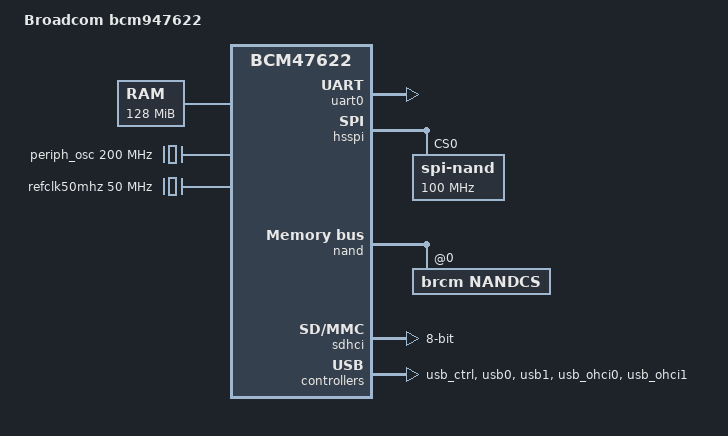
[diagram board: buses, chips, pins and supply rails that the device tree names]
/dts-v1/;

#include "bcm47622-pinctrl.dtsi"

/ {
	model = "Broadcom bcm947622";
	compatible = "broadcom,bcm947622", "brcm,brcm-v7";
	#address-cells = <0x1>;
	#size-cells = <0x1>;

	aliases {
		serial0 = &uart0;
		spi1 = &hsspi;
	};


	chosen {
		stdout-path = "serial0:115200n8";
	};

	memory {
		device_type = "memory";
		reg = <0x0 0x08000000>;
	};

	clocks {
		compatible = "simple-bus";
		#address-cells = <1>;
		#size-cells = <1>;
		ranges;
		u-boot,dm-pre-reloc;

		periph_osc: periph-osc {
			compatible = "fixed-clock";
			#clock-cells = <0>;
			clock-frequency = <200000000>;
			u-boot,dm-pre-reloc;
		};

		hsspi_pll: hsspi-pll {
			compatible = "fixed-factor-clock";
			#clock-cells = <0>;
			clocks = <&periph_osc>;
			clock-mult = <1>;
			clock-div = <1>;
			u-boot,dm-pre-reloc;
		};

		refclk50mhz: refclk50mhz {
			compatible = "fixed-clock";
			#clock-cells = <0>;
			clock-frequency = <50000000>;
		};
	};

	ubus@ff800000 {
		compatible = "simple-bus";
		#address-cells = <0x1>;
		#size-cells = <0x1>;
		u-boot,dm-pre-reloc;

		uart0: serial@ff812000 {	
			u-boot,dm-pre-reloc;
			compatible = "arm,pl011", "arm,primecell";
			reg = <0xff812000 0x1000>;
			clock = <50000000>;
			status = "okay";
		};

		wdt1: watchdog@ff800480 {
			compatible = "brcm,bcm6345-wdt";
			reg = <0xff800480 0x14>;
			clocks = <&refclk50mhz>;
		};

		wdt2: watchdog@ff8004c0 {
			compatible = "brcm,bcm6345-wdt";
			reg = <0xff8004c0 0x14>;
			clocks = <&refclk50mhz>;
		};

		wdt-reboot {
			compatible = "wdt-reboot";
			wdt = <&wdt1>;
		};

		hsspi: spi@ff801000 {
			#address-cells = <0x1>;
			#size-cells = <0x0>;
			u-boot,dm-pre-reloc;
			compatible = "brcm,bcm6328-hsspi";
			reg = <0xff801000 0x600>;
			clocks = <&hsspi_pll>, <&hsspi_pll>;
			clock-names = "hsspi", "pll";
			spi-max-frequency = <100000000>;
			num-cs = <0x8>;
			cs-gpios = <0x0 0x0>;
			status = "disabled";
		};

		nand: nand-controller@ff801800 {
			compatible = "brcm,nand-bcmbca",
				     "brcm,brcmnand-v7.1",
				     "brcm,brcmnand";
			reg-names = "nand", "nand-int-base", "nand-cache";
			reg = <0xff801800 0x400>,
			      <0xff802000 0x10>,
			      <0xff801c00 0x200>;
			parameter-page-big-endian = <0>;
			status = "okay";
			write-protect = <0>;
			#address-cells = <1>;
			#size-cells = <0>;

			nandcs@0 {
				compatible = "brcm,nandcs";
				reg = <0>;
			};
		};

		sdhci: sdhci@ff810000 {
			compatible = "brcm,bcm63xx-sdhci",
			             "brcm,sdhci-brcmbca";
			reg-names = "sdhci-base", "sdhci-boot";
			reg = <0xff810000 0x100>,
			      <0xff810200 0x40>;	
			bus-width = <8>;
			u-boot,dm-pre-reloc;
		};

		rng: rng@ff800b80 {
			compatible = "brcm,iproc-rng200";
			reg = <0xff800b80 0x28>;
			u-boot,dm-pre-reloc;
		};
	sysport: systemport@0x80400000 {
		compatible = "brcm,bcmbca-systemport-v2.0";
		sphy-available=<0x01>;
		reg-names =
		"systemport-rbuf-base",
		"systemport-rdma-base",
		"systemport-tdma-base",
		"systemport-umac-base",
		"systemport-topctrl-base",
		"systemport-switchmdio-base",
		"sphy-ctrl",
		"phy-test-ctrl";
		reg =   <0x80400400 0x14>,
			<0x80402000 0x1300>,
			<0x80404000 0x8ff>,
			<0x80400800 0x350>,
			<0x80400000 0x40>,
			<0x80411300 0x10>,
			<0x804110c0 0x04>,
			<0x804110bc 0x04>;
		phy_base = <0x8>;
		phy_wkard_timeout = <25000>;
		};

	boot_state {
		u-boot,dm-pre-reloc;
		compatible = "brcm,bcmbca-bootstate-v2";
		reg-names = "reset_reason", "reset_status";
		reg =   <0xff802628 0x04>,
			<0xff85a03c 0x04>;
		};

		pinctrl: pinctrl {
			compatible = "brcm,bcmbca-pinctrl";
			reg = <0xff800554 0x14>;
		};

		usb_ctrl:usb_ctrl {
		compatible = "brcm,bcmbca-usb-ctrl";
		reg-names = "usb-ctrl";
		reg = <0x8000c200 0x100>;
		status = "okay";
		};

		usb0: usb@0x8000c300 {
		compatible = "brcm,bcmbca-ehci";
		reg-names = "usb-ehci";
		reg = <0x8000c300 0x100>;
		status = "okay";
		pinctrl-0 = <&usb0_pwr_pins>;
		pinctrl-names="default";
		};

		usb1: usb@0x8000c500 {
		compatible = "brcm,bcmbca-ehci";
		reg-names = "usb-ehci";
		reg = <0x8000c500 0x100>;
		status = "okay";
		pinctrl-0 = <&usb1_pwr_pins>;
		pinctrl-names="default";
		};

		usb_ohci0: usb_ohci@0x8000c400 {
		compatible = "brcm,bcmbca-ohci";
		reg-names = "usb-ohci";
		reg = <0x8000c400 0x100>;
		};

		usb_ohci1: usb_ohci@0x8000c600 {
		compatible = "brcm,bcmbca-ohci";
		reg-names = "usb-ohci";
		reg = <0x8000c600 0x100>;
		};
	};
};

&hsspi {
	status = "okay";
	spi-nand {
		compatible = "spi-nand";
		reg = <0>;
		#address-cells = <1>;
		#size-cells = <0>;
		u-boot,dm-pre-reloc;				
		spi-max-frequency = <100000000>;
	};
};
